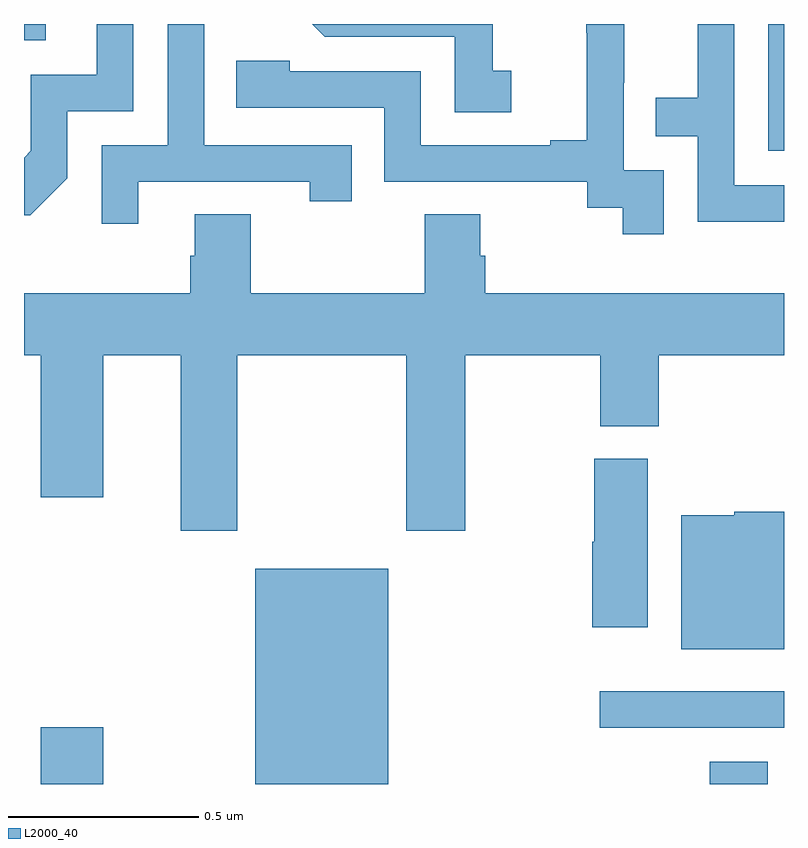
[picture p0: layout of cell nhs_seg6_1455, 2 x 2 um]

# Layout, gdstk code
import gdstk
lib = gdstk.Library(unit=1e-6, precision=1e-09)
def R(c, l, rs):  # rectangles x0, y0, x1, y1
    for r in rs: c.add(gdstk.rectangle(r[:2], r[2:], *l))
def P(c, l, *ps):  # polygons
    for p in ps: c.add(gdstk.Polygon(p, *l))
L2000_40 = (2000, 40)

nhs_seg6_1455 = lib.new_cell('nhs_seg6_1455')
R(nhs_seg6_1455, L2000_40, [(129.044,987.5,129.208,987.649), (129.608,987.5,129.958,988.066), (130.805,987.5,130.957,987.559), (130.515,987.648,131,987.744), (130.959,989.166,131,989.5), (129,989.457,129.057,989.5)])
P(nhs_seg6_1455, L2000_40, [(130.683,989.115),(130.578,989.115),(130.578,989.345),(130.58,989.345),(130.58,989.5),(130.48,989.5),(130.48,989.477),(130.481,989.477),(130.481,989.194),(130.385,989.194),(130.385,989.181),(130.044,989.181),(130.044,989.376),(129.699,989.376),(129.699,989.403),(129.559,989.403),(129.559,989.28),(129.948,989.28),(129.948,989.085),(130.482,989.085),(130.482,989.017),(130.575,989.017),(130.575,988.947),(130.683,988.947)],
  [(130.282,989.377),(130.233,989.377),(130.233,989.5),(129.758,989.5),(129.792,989.466),(130.134,989.466),(130.134,989.268),(130.282,989.268)],
  [(129.301,989.085),(129.752,989.085),(129.752,989.034),(129.863,989.034),(129.863,989.181),(129.474,989.181),(129.474,989.5),(129.378,989.5),(129.378,989.181),(129.204,989.181),(129.204,988.974),(129.301,988.974)],
  [(131,989.076),(130.869,989.076),(130.869,989.5),(130.773,989.5),(130.773,989.306),(130.663,989.306),(130.663,989.205),(130.773,989.205),(130.773,988.98),(131,988.98)],
  [(129.114,989.094),(129.114,989.271),(129.288,989.271),(129.288,989.5),(129.191,989.5),(129.191,989.367),(129.018,989.367),(129.018,989.166),(129,989.148),(129,988.997),(129.016,988.997)],
  [(129.561,988.628),(130.006,988.628),(130.006,988.167),(130.161,988.167),(130.161,988.628),(130.516,988.628),(130.516,988.441),(130.671,988.441),(130.671,988.628),(131,988.628),(131,988.792),(130.214,988.792),(130.214,988.89),(130.201,988.89),(130.201,989),(130.054,989),(130.054,988.792),(129.597,988.792),(129.597,989),(129.449,989),(129.449,988.89),(129.437,988.89),(129.437,988.792),(129,988.792),(129,988.628),(129.044,988.628),(129.044,988.254),(129.208,988.254),(129.208,988.628),(129.413,988.628),(129.413,988.167),(129.561,988.167)],
  [(130.642,988.356),(130.501,988.356),(130.501,988.137),(130.496,988.137),(130.496,987.912),(130.642,987.912)],
  [(131,988.216),(130.869,988.216),(130.869,988.207),(130.73,988.207),(130.73,987.854),(131,987.854)])

lib.write_gds('nhs_seg6_1455.gds')
